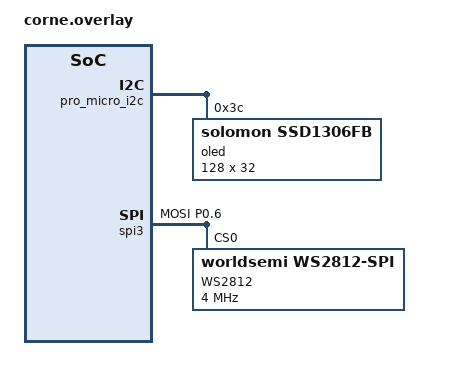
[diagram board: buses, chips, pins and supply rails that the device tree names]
/*
 * Corne (CRKBD) ZMK user overlay
 * Adds OLED display and RGB underglow (27 LEDs per side)
 */

#include <dt-bindings/led/led.h>

/ {
	chosen {
		zephyr,display = &oled;
		zmk,underglow = &led_strip;
	};
};

/* OLED Display - I2C */
&pinctrl {
	i2c0_default: i2c0_default {
		group1 {
			psels = <NRF_PSEL(TWIM_SDA, 0, 17)>,
				<NRF_PSEL(TWIM_SCL, 0, 20)>;
		};
	};

	i2c0_sleep: i2c0_sleep {
		group1 {
			psels = <NRF_PSEL(TWIM_SDA, 0, 17)>,
				<NRF_PSEL(TWIM_SCL, 0, 20)>;
			low-power-enable;
		};
	};
};

&pro_micro_i2c {
	status = "okay";

	oled: ssd1306@3c {
		compatible = "solomon,ssd1306fb";
		reg = <0x3c>;
		width = <128>;
		height = <32>;
		segment-offset = <0>;
		page-offset = <0>;
		display-offset = <0>;
		multiplex-ratio = <31>;
		segment-remap;
		com-invdir;
		com-sequential;
		inversion-on;
		prechargep = <0x22>;
	};
};

/* RGB Underglow - SPI */
&pinctrl {
	spi3_default: spi3_default {
		group1 {
			psels = <NRF_PSEL(SPIM_MOSI, 0, 6)>;
		};
	};

	spi3_sleep: spi3_sleep {
		group1 {
			psels = <NRF_PSEL(SPIM_MOSI, 0, 6)>;
			low-power-enable;
		};
	};
};

&spi3 {
	compatible = "nordic,nrf-spim";
	status = "okay";

	pinctrl-0 = <&spi3_default>;
	pinctrl-1 = <&spi3_sleep>;
	pinctrl-names = "default", "sleep";

	led_strip: ws2812@0 {
		compatible = "worldsemi,ws2812-spi";
		label = "WS2812";

		/* SPI Configuration */
		reg = <0>;
		spi-max-frequency = <4000000>;

		/* WS2812 LED Configuration - 27 LEDs per side */
		chain-length = <27>;
		spi-one-frame = <0x70>;
		spi-zero-frame = <0x40>;
		color-mapping = <LED_COLOR_ID_GREEN
				 LED_COLOR_ID_RED
				 LED_COLOR_ID_BLUE>;
	};
};
